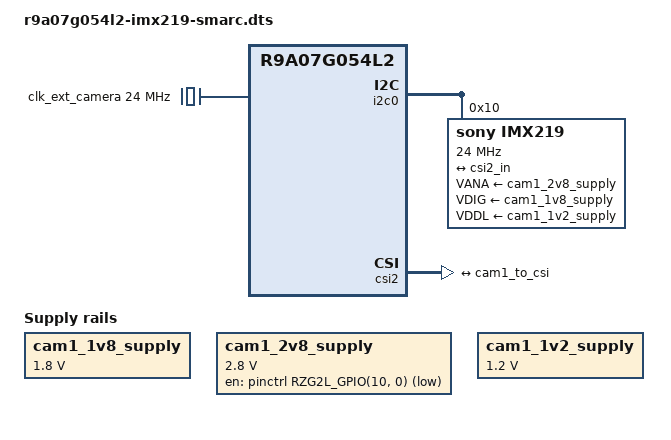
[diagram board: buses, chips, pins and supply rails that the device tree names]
// SPDX-License-Identifier: (GPL-2.0-only OR BSD-2-Clause)
/*
 * Device Tree Source for the RZ/V2L SMARC MXT board variant
 *
 * Copyright (C) 2024 MXT Creation SRL
 */

/dts-v1/;
#include "r9a07g054l2-mxt-smarc.dts"

/ {
	cam1_1v8_supply: 1p8v {
		compatible = "regulator-fixed";
		regulator-name = "cam1_1v8_supply";
		regulator-min-microvolt = <1800000>;
		regulator-max-microvolt = <1800000>;
		regulator-always-on;
	};

	cam1_2v8_supply: 2p8v {
		compatible = "regulator-fixed";
		regulator-name = "cam1_2v8_supply";
		regulator-min-microvolt = <2800000>;
		regulator-max-microvolt = <2800000>;
		gpios = <&pinctrl RZG2L_GPIO(10, 0) 0>;
		startup-delay-us = <300000>;
	};

	cam1_1v2_supply: 1p2v {
		compatible = "regulator-fixed";
		regulator-name = "cam1_1v2_supply";
		regulator-min-microvolt = <1200000>;
		regulator-max-microvolt = <1200000>;
		regulator-always-on;
	};
};

&clk_ext_camera {
	compatible = "fixed-clock";
	#clock-cells = <0>;
	clock-frequency = <24000000>;
};

&i2c0 {
	pinctrl-0 = <&i2c0_pins>;
	pinctrl-names = "default";

	status = "okay";

	imx219: imx219@10 {
		compatible = "sony,imx219";
		reg = <0x10>;
		clock-names = "xclk";
		clocks = <&clk_ext_camera>;
		clock-frequency = <24000000>;
		VANA-supply = <&cam1_2v8_supply>;
		VDIG-supply = <&cam1_1v8_supply>;
		VDDL-supply = <&cam1_1v2_supply>;

		port {
			cam1_to_csi: endpoint {
				clock-lanes = <0>;
				data-lanes = <1 2>;
				link-frequencies = /bits/ 64 <456000000>;
				remote-endpoint = <&csi2_in>;
			};
		};
	};

	/delete-node/ camera@3c;
};

&csi2 {
	status = "okay";

	ports {
		port {
			csi2_in: endpoint {
				clock-lanes = <0>;
				data-lanes = <1 2>;
				remote-endpoint = <&cam1_to_csi>;
			};
		};
	};
};

